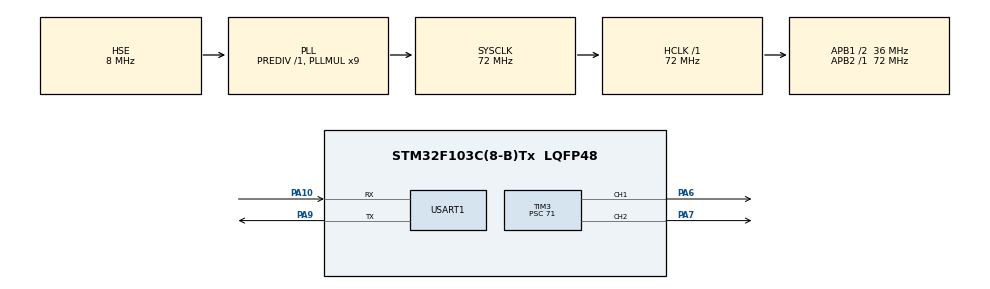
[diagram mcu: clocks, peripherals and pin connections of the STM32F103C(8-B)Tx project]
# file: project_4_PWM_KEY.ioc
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Mcu.Family=STM32F1
Mcu.Name=STM32F103C(8-B)Tx
Mcu.Package=LQFP48
NVIC.PriorityGroup=NVIC_PRIORITYGROUP_4
NVIC.TIM3_IRQn=true\:0\:0\:false\:false\:true\:true\:true\:true
NVIC.USART1_IRQn=true\:0\:0\:false\:false\:true\:true\:true\:true
PA10.Mode=Asynchronous
PA10.Signal=USART1_RX
PA13.Mode=Serial_Wire
PA13.Signal=SYS_JTMS-SWDIO
PA14.Mode=Serial_Wire
PA14.Signal=SYS_JTCK-SWCLK
PA6.Signal=S_TIM3_CH1
PA7.Signal=S_TIM3_CH2
PA9.Mode=Asynchronous
PA9.Signal=USART1_TX
PD0-OSC_IN.Mode=HSE-External-Oscillator
PD0-OSC_IN.Signal=RCC_OSC_IN
PD1-OSC_OUT.Mode=HSE-External-Oscillator
PD1-OSC_OUT.Signal=RCC_OSC_OUT
ProjectManager.HeapSize=0x200
ProjectManager.StackSize=0x400
ProjectManager.TargetToolchain=MDK-ARM V5.32
RCC.AHBFreq_Value=72000000
RCC.APB1CLKDivider=RCC_HCLK_DIV2
RCC.APB1Freq_Value=36000000
RCC.APB1TimFreq_Value=72000000
RCC.APB2Freq_Value=72000000
RCC.APB2TimFreq_Value=72000000
RCC.HCLKFreq_Value=72000000
RCC.PLLMUL=RCC_PLL_MUL9
RCC.PLLSourceVirtual=RCC_PLLSOURCE_HSE
RCC.SYSCLKFreq_VALUE=72000000
RCC.SYSCLKSource=RCC_SYSCLKSOURCE_PLLCLK
RCC.USBFreq_Value=72000000
SH.S_TIM3_CH1.0=TIM3_CH1,PWM Generation1 CH1
SH.S_TIM3_CH2.0=TIM3_CH2,PWM Generation2 CH2
TIM3.Channel-PWM\ Generation1\ CH1=TIM_CHANNEL_1
TIM3.Channel-PWM\ Generation2\ CH2=TIM_CHANNEL_2
TIM3.Period=99
TIM3.Prescaler=71
USART1.VirtualMode=VM_ASYNC
board=custom

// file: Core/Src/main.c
/* USER CODE BEGIN Header */
/**
  ******************************************************************************
  * @file           : main.c
  * @brief          : Main program body
  ******************************************************************************
  * @attention
  *
  * Copyright (c) 2026 STMicroelectronics.
  * All rights reserved.
  *
  * This software is licensed under terms that can be found in the LICENSE file
  * in the root directory of this software component.
  * If no LICENSE file comes with this software, it is provided AS-IS.
  *
  ******************************************************************************
  */
/* USER CODE END Header */
#include "main.h"
#include "tim.h"
#include "usart.h"
#include "gpio.h"

/* USER CODE BEGIN Includes */
#include <stdio.h>
#include <string.h>
/* USER CODE END Includes */

/* USER CODE BEGIN PV */
// 定义结构体，方便管理两路独立状态
typedef struct {
    uint8_t mode;       // 0: 手动, 1: 自动
    uint8_t duty;       // 占空比 0~100
    uint8_t auto_dir;   // 1: 增加, 0: 减少
} LED_State;

LED_State led1 = {0, 50, 1}; // LED1 初始：手动，50%
LED_State led2 = {0, 50, 1}; // LED2 初始：手动，50%

// 串口接收相关
char rx_buf[50];      // 接收缓冲区
uint8_t rx_idx = 0;   // 缓冲区索引
uint8_t cmd_ready = 0;// 指令接收完成标志
uint8_t rx_data;      // 当前接收的字符

uint32_t auto_tick1 = 0;
uint32_t auto_tick2 = 0;
/* USER CODE END PV */

void SystemClock_Config(void);

/* USER CODE BEGIN 0 */
int fputc(int ch, FILE *f) {
    HAL_UART_Transmit(&huart1, (uint8_t *)&ch, 1, 0xFFFF);
    return ch;
}
/* USER CODE END 0 */

int main(void)
{

  /* MCU Configuration--------------------------------------------------------*/

  /* Reset of all peripherals, Initializes the Flash interface and the Systick. */
  HAL_Init();

  /* Configure the system clock */
  SystemClock_Config();

  /* Initialize all configured peripherals */
  MX_GPIO_Init();
  MX_TIM3_Init();
  MX_USART1_UART_Init();
  /* USER CODE BEGIN 2 */
  // 启动两路 PWM
  HAL_TIM_PWM_Start(&htim3, TIM_CHANNEL_1);
  HAL_TIM_PWM_Start(&htim3, TIM_CHANNEL_2);
  __HAL_TIM_SET_COMPARE(&htim3, TIM_CHANNEL_1, led1.duty);
  __HAL_TIM_SET_COMPARE(&htim3, TIM_CHANNEL_2, led2.duty);

  // 开启串口接收
  HAL_UART_Receive_IT(&huart1, &rx_data, 1);
  /* USER CODE END 2 */

  /* Infinite loop */
  while (1)
  {

    /* USER CODE BEGIN 3 */
	  // ================== 1. 指令解析 ==================
	if (cmd_ready == 1)
	{
		cmd_ready = 0; // 清除标志位
		int val = 0;
		char cmd = 0;

		// 尝试解析 "LED1 A" 或 "LED2 M" 或 "LED1 30"
		if (sscanf(rx_buf, "LED1 %c", &cmd) == 1) {
			if (cmd == 'A') { led1.mode = 1; }
			else if (cmd == 'M') { led1.mode = 0; }
		}
		else if (sscanf(rx_buf, "LED2 %c", &cmd) == 1) {
			if (cmd == 'A') { led2.mode = 1; }
			else if (cmd == 'M') { led2.mode = 0; }
		}
		else if (sscanf(rx_buf, "LED1 %d", &val) == 1) {
			if(val >= 0 && val <= 100) {
				led1.duty = val;
				led1.mode = 0; // 调数值自动切手动
				__HAL_TIM_SET_COMPARE(&htim3, TIM_CHANNEL_1, led1.duty);
			} else {
				printf("Error: Duty out of range\r\n");
			}
		}
		else if (sscanf(rx_buf, "LED2 %d", &val) == 1) {
			if(val >= 0 && val <= 100) {
				led2.duty = val;
				led2.mode = 0;
				__HAL_TIM_SET_COMPARE(&htim3, TIM_CHANNEL_2, led2.duty);
			} else {
				printf("Error: Duty out of range\r\n");
			}
		}
		else {
			printf("Error: Invalid Command\r\n");
		}

		// 统一反馈当前两个灯的状态
		printf("LED1:%s,Duty:%d\r\n", led1.mode ? "Auto" : "Manual", led1.duty);
		printf("LED2:%s,Duty:%d\r\n", led2.mode ? "Auto" : "Manual", led2.duty);
	}

	// ================== 2. 自动模式平滑处理 ==================
	// LED1 自动模式
	if (led1.mode == 1 && (HAL_GetTick() - auto_tick1 >= 20)) {
		auto_tick1 = HAL_GetTick();
		if (led1.auto_dir) { led1.duty++; if (led1.duty >= 80) led1.auto_dir = 0; }
		else { led1.duty--; if (led1.duty <= 20) led1.auto_dir = 1; }
		__HAL_TIM_SET_COMPARE(&htim3, TIM_CHANNEL_1, led1.duty);
	}

	// LED2 自动模式
	if (led2.mode == 1 && (HAL_GetTick() - auto_tick2 >= 20)) {
		auto_tick2 = HAL_GetTick();
		if (led2.auto_dir) { led2.duty++; if (led2.duty >= 80) led2.auto_dir = 0; }
		else { led2.duty--; if (led2.duty <= 20) led2.auto_dir = 1; }
		__HAL_TIM_SET_COMPARE(&htim3, TIM_CHANNEL_2, led2.duty);
	}

  }
  /* USER CODE END 3 */
}

void SystemClock_Config(void)
{
  RCC_OscInitTypeDef RCC_OscInitStruct = {0};
  RCC_ClkInitTypeDef RCC_ClkInitStruct = {0};

  /** Initializes the RCC Oscillators according to the specified parameters
  * in the RCC_OscInitTypeDef structure.
  */
  RCC_OscInitStruct.OscillatorType = RCC_OSCILLATORTYPE_HSE;
  RCC_OscInitStruct.HSEState = RCC_HSE_ON;
  RCC_OscInitStruct.HSEPredivValue = RCC_HSE_PREDIV_DIV1;
  RCC_OscInitStruct.HSIState = RCC_HSI_ON;
  RCC_OscInitStruct.PLL.PLLState = RCC_PLL_ON;
  RCC_OscInitStruct.PLL.PLLSource = RCC_PLLSOURCE_HSE;
  RCC_OscInitStruct.PLL.PLLMUL = RCC_PLL_MUL9;
  if (HAL_RCC_OscConfig(&RCC_OscInitStruct) != HAL_OK)
  {
    Error_Handler();
  }

  /** Initializes the CPU, AHB and APB buses clocks
  */
  RCC_ClkInitStruct.ClockType = RCC_CLOCKTYPE_HCLK|RCC_CLOCKTYPE_SYSCLK
                              |RCC_CLOCKTYPE_PCLK1|RCC_CLOCKTYPE_PCLK2;
  RCC_ClkInitStruct.SYSCLKSource = RCC_SYSCLKSOURCE_PLLCLK;
  RCC_ClkInitStruct.AHBCLKDivider = RCC_SYSCLK_DIV1;
  RCC_ClkInitStruct.APB1CLKDivider = RCC_HCLK_DIV2;
  RCC_ClkInitStruct.APB2CLKDivider = RCC_HCLK_DIV1;

  if (HAL_RCC_ClockConfig(&RCC_ClkInitStruct, FLASH_LATENCY_2) != HAL_OK)
  {
    Error_Handler();
  }
}

/* USER CODE BEGIN 4 */
void HAL_UART_RxCpltCallback(UART_HandleTypeDef *huart)
{
    if(huart->Instance == USART1)
    {
        // 如果没满，且不是换行符，存进缓冲区
        if(rx_idx < 49 && rx_data != '\n' && rx_data != '\r') {
            rx_buf[rx_idx++] = rx_data;
        }
        // 收到换行符或回车，说明一帧指令结束
        else if(rx_data == '\n' || rx_data == '\r') {
            rx_buf[rx_idx] = '\0'; // 加上字符串结束符
            cmd_ready = 1;         // 标记指令已就绪
            rx_idx = 0;            // 清空索引准备下一次
        }

        HAL_UART_Receive_IT(&huart1, &rx_data, 1); // 重新开启接收
    }
}
/* USER CODE END 4 */

void Error_Handler(void)
{
  __disable_irq();
  while (1)
  {
  }
}
